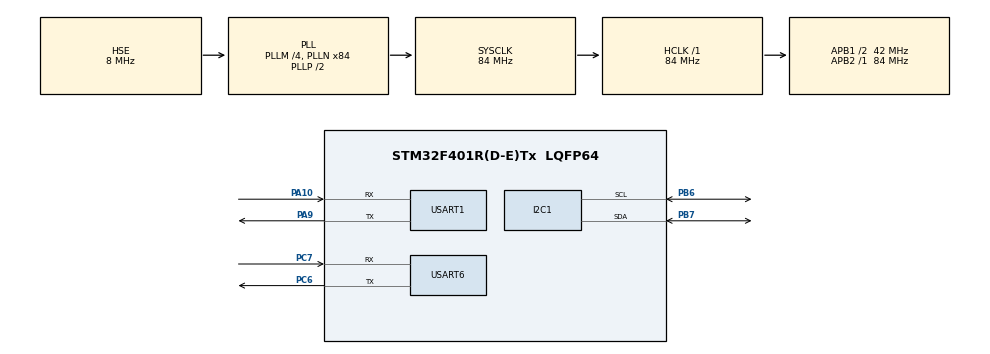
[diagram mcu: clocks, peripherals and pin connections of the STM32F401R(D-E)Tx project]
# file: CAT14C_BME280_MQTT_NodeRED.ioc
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Mcu.Family=STM32F4
Mcu.Name=STM32F401R(D-E)Tx
Mcu.Package=LQFP64
NVIC.PriorityGroup=NVIC_PRIORITYGROUP_4
NVIC.USART1_IRQn=true\:0\:0\:false\:false\:true\:true\:true\:true
PA10.Mode=Asynchronous
PA10.Signal=USART1_RX
PA13.Mode=Serial_Wire
PA13.Signal=SYS_JTMS-SWDIO
PA14.Mode=Serial_Wire
PA14.Signal=SYS_JTCK-SWCLK
PA9.Mode=Asynchronous
PA9.Signal=USART1_TX
PB6.Mode=I2C
PB6.Signal=I2C1_SCL
PB7.Mode=I2C
PB7.Signal=I2C1_SDA
PC6.Mode=Asynchronous
PC6.Signal=USART6_TX
PC7.Mode=Asynchronous
PC7.Signal=USART6_RX
PH0\ -\ OSC_IN.Mode=HSE-External-Clock-Source
PH0\ -\ OSC_IN.Signal=RCC_OSC_IN
PH1\ -\ OSC_OUT.Mode=HSE-External-Clock-Source
PH1\ -\ OSC_OUT.Signal=RCC_OSC_OUT
ProjectManager.HeapSize=0x200
ProjectManager.StackSize=0x400
ProjectManager.TargetToolchain=STM32CubeIDE
RCC.48MHZClocksFreq_Value=42000000
RCC.AHBFreq_Value=84000000
RCC.APB1CLKDivider=RCC_HCLK_DIV2
RCC.APB1Freq_Value=42000000
RCC.APB1TimFreq_Value=84000000
RCC.APB2Freq_Value=84000000
RCC.APB2TimFreq_Value=84000000
RCC.CortexFreq_Value=84000000
RCC.HCLKFreq_Value=84000000
RCC.HSE_VALUE=8000000
RCC.HSI_VALUE=16000000
RCC.LSE_VALUE=32768
RCC.PLLM=4
RCC.PLLN=84
RCC.PLLSourceVirtual=RCC_PLLSOURCE_HSE
RCC.SYSCLKFreq_VALUE=84000000
RCC.SYSCLKSource=RCC_SYSCLKSOURCE_PLLCLK
RCC.VCOOutputFreq_Value=168000000
USART1.VirtualMode=VM_ASYNC
USART6.VirtualMode=VM_ASYNC
board=custom

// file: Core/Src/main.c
/* USER CODE BEGIN Header */
/**
  ******************************************************************************
  * @file           : main.c
  * @brief          : CAT 14 - BME280 over I2C published as JSON over MQTT (broker.emqx.io)
  *                    Node-RED mqtt-in subscribes to vaishali/stm32/bme280 and visualises T/H/P.
  ******************************************************************************
  * @attention
  *
  * Copyright (c) 2026 STMicroelectronics.
  * All rights reserved.
  *
  * This software is licensed under terms that can be found in the LICENSE file
  * in the root directory of this software component.
  * If no LICENSE file comes with this software, it is provided AS-IS.
  *
  ******************************************************************************
  */
/* USER CODE END Header */
#include "main.h"

/* USER CODE BEGIN Includes */
#include "ESPLib.h"
#include "bme280.h"
#include "wifi_config.h"
#include "fmt_fixed.h"
#include <stdio.h>
#include <string.h>
/* USER CODE END Includes */

/* USER CODE BEGIN PD */
#define DBG_UART          (&huart6)          /* USART6 PC6/PC7 -> PuTTY 115200 */
#define MQTT_BROKER       "broker.emqx.io"   /* public test broker            */
#define MQTT_PORT         "1883"             /* plain (unencrypted) MQTT      */
#define DATA_TOPIC        "vaishali/stm32/bme280"
#define RETRY_MS          5000U              /* wait before reconnecting      */
#define CLIENT_ID         "stm32-vaishali-bme280"
#define PUBLISH_PERIOD_MS 2000U
/* BME280 on I2C1: PB6 = SCL, PB7 = SDA, 3.3 V, address 0x76 */
/* USER CODE END PD */

I2C_HandleTypeDef hi2c1;
UART_HandleTypeDef huart1;
UART_HandleTypeDef huart6;

/* USER CODE BEGIN PV */
static struct bme280_dev      bme;
static struct bme280_settings bme_cfg;
static struct bme280_data     bme_data;
static uint8_t                bme_addr = BME280_I2C_ADDR_PRIM;   /* 0x76 */

/* compensated results - add these to Live Expressions while debugging */
float temperature = 0.0f;    /* deg C */
float pressure    = 0.0f;    /* hPa   */
float humidity    = 0.0f;    /* %RH   */
int8_t bme_status = BME280_OK;
static uint32_t published = 0;
/* USER CODE END PV */

void SystemClock_Config(void);
static void MX_GPIO_Init(void);
static void MX_I2C1_Init(void);
static void MX_USART1_UART_Init(void);
static void MX_USART6_UART_Init(void);
/* USER CODE BEGIN PFP */
int8_t user_i2c_read(uint8_t reg_addr, uint8_t *reg_data, uint32_t len, void *intf_ptr);
int8_t user_i2c_write(uint8_t reg_addr, const uint8_t *reg_data, uint32_t len, void *intf_ptr);
void   user_delay_us(uint32_t period, void *intf_ptr);
/* USER CODE END PFP */

/* USER CODE BEGIN 0 */
static void dbg(const char *s)
{
  HAL_UART_Transmit(DBG_UART, (uint8_t *)s, (uint16_t)strlen(s), 200);
}

/* Print the library's error counters whenever they change */
static void report_diagnostics(void)
{
  static uint32_t last_ovf = 0, last_drop = 0;
  uint32_t ovf = ESP8266_rxOverflows(), drop = MQTT_droppedMessages();
  if (ovf != last_ovf || drop != last_drop)
  {
    char line[80];
    snprintf(line, sizeof(line), "[diag] UART RX overflow bytes: %lu, dropped MQTT packets: %lu\r\n",
             (unsigned long)ovf, (unsigned long)drop);
    dbg(line);
    last_ovf = ovf;
    last_drop = drop;
  }
}

/* Wi-Fi + TCP + MQTT CONNECT. Every step is checked; returns 1 only when the
 * broker has answered CONNACK "accepted". Optional broker login: define
 * MQTT_USERNAME / MQTT_PASSWORD in wifi_secrets.h. */
static int mqtt_start(const char *client_id)
{
  MQTT_InitTypeDef_t cfg;

  dbg("ESP8266 init (station mode)...\r\n");
  if (ESP8266_Init(StationMode, huart1) != funcOk) { dbg("  ESP8266 not responding\r\n"); return 0; }
  dbg("Joining " WIFI_SSID "...\r\n");
  if (ESP8266_wifiConnect(WIFI_SSID, WIFI_PASSWORD) != funcOk) { dbg("  Wi-Fi join failed\r\n"); return 0; }
  dbg("TCP connect to " MQTT_BROKER ":" MQTT_PORT "...\r\n");
  if (ESP8266_portConnect("TCP", MQTT_BROKER, MQTT_PORT) != funcOk) { dbg("  TCP connect failed\r\n"); return 0; }

  memset(&cfg, 0, sizeof(cfg));
  cfg.keepAlive   = 120;                 /* seconds; PINGREQ / publishes keep it alive */
  cfg.connectFlag = CleanSession;        /* no stored session */
  cfg.clientID    = (char *)client_id;
#if defined(MQTT_USERNAME) && defined(MQTT_PASSWORD)
  cfg.username     = MQTT_USERNAME;
  cfg.password     = MQTT_PASSWORD;
  cfg.connectFlag |= UserNameFlag | PasswordFlag;
#endif
  if (MQTT_connectBroker(&cfg) != funcOk) { dbg("  broker refused / no CONNACK\r\n"); return 0; }
  dbg("MQTT connected (CONNACK accepted) as ");
  dbg(client_id);
  dbg("\r\n");
  return 1;
}

/* Connect the Bosch API to our I2C functions, check the chip and configure it */
static int8_t bme_setup(uint8_t osr, uint8_t filter, uint8_t standby)
{
  int8_t r;

  bme.intf_ptr = &bme_addr;
  bme.intf     = BME280_I2C_INTF;
  bme.read     = user_i2c_read;
  bme.write    = user_i2c_write;
  bme.delay_us = user_delay_us;

  r = bme280_init(&bme);                 /* reads chip ID 0x60, soft reset, trim data */
  if (r != BME280_OK)
    return r;

  r = bme280_get_sensor_settings(&bme_cfg, &bme);   /* start from the current settings */
  if (r != BME280_OK)
    return r;
  bme_cfg.osr_t        = osr;            /* temperature oversampling */
  bme_cfg.osr_p        = osr;            /* pressure oversampling    */
  bme_cfg.osr_h        = osr;            /* humidity oversampling    */
  bme_cfg.filter       = filter;         /* IIR filter coefficient   */
  bme_cfg.standby_time = standby;        /* time between conversions in normal mode */
  r = bme280_set_sensor_settings(BME280_SEL_ALL_SETTINGS, &bme_cfg, &bme);
  if (r != BME280_OK)
    return r;

  return bme280_set_sensor_mode(BME280_POWERMODE_NORMAL, &bme);   /* continuous */
}

/* Read compensated values; returns 1 on success */
static int bme_read(void)
{
  bme_status = bme280_get_sensor_data(BME280_ALL, &bme_data, &bme);
  if (bme_status != BME280_OK)
    return 0;
  temperature = (float)bme_data.temperature;
  pressure    = (float)(bme_data.pressure / 100.0);   /* Pa -> hPa */
  humidity    = (float)bme_data.humidity;
  return 1;
}

static void print_readings(void)
{
  char t[12], p[12], h[12], line[48];
  fmt_2dp(t, sizeof(t), temperature);
  fmt_2dp(p, sizeof(p), pressure);
  fmt_2dp(h, sizeof(h), humidity);
  snprintf(line, sizeof(line), "Temperature : %s \xC2\xB0" "C\r\n", t);  dbg(line);
  snprintf(line, sizeof(line), "Pressure    : %s hPa\r\n", p);           dbg(line);
  snprintf(line, sizeof(line), "Humidity    : %s %%RH\r\n", h);          dbg(line);
}

/* {"status":"success","temperature":28.45,"humidity":62.30,"pressure":1008.72} */
static void build_json(char *json, size_t size, int ok)
{
  char t[12], h[12], p[12];
  if (!ok)
  {
    snprintf(json, size, "{\"status\":\"error\"}");
    return;
  }
  fmt_2dp(t, sizeof(t), temperature);
  fmt_2dp(h, sizeof(h), humidity);
  fmt_2dp(p, sizeof(p), pressure);
  snprintf(json, size, "{\"status\":\"success\",\"temperature\":%s,\"humidity\":%s,\"pressure\":%s}", t, h, p);
}
/* USER CODE END 0 */

int main(void)
{

  /* MCU Configuration--------------------------------------------------------*/

  /* Reset of all peripherals, Initializes the Flash interface and the Systick. */
  HAL_Init();

  /* Configure the system clock */
  SystemClock_Config();

  /* Initialize all configured peripherals */
  MX_GPIO_Init();
  MX_I2C1_Init();
  MX_USART1_UART_Init();
  MX_USART6_UART_Init();
  /* USER CODE BEGIN 2 */
  dbg("\r\nCAT14C - BME280 -> JSON -> MQTT -> Node-RED\r\n");

  bme_status = bme_setup(BME280_OVERSAMPLING_2X, BME280_FILTER_COEFF_OFF, BME280_STANDBY_TIME_62_5_MS);
  if (bme_status != BME280_OK)
  {
    dbg("BME280 init failed\r\n");
    Error_Handler();
  }
  dbg("BME280 ready\r\n");

  while (!mqtt_start(CLIENT_ID)) HAL_Delay(RETRY_MS);
  /* USER CODE END 2 */

  /* Infinite loop */
  while (1)
  {

    /* USER CODE BEGIN 3 */
    char json[128];
    int  ok = bme_read();

    build_json(json, sizeof(json), ok);
    report_diagnostics();
    if (!MQTT_isConnected())
    {
      dbg("Connection lost - reconnecting\r\n");
      while (!mqtt_start(CLIENT_ID)) HAL_Delay(RETRY_MS);
    }
    if (MQTT_publishTopic(DATA_TOPIC, json, QoS0) == funcOk)
      published++;
    else
      dbg("PUB failed\r\n");

    dbg("\r\nPUB " DATA_TOPIC " ");
    dbg(json);
    dbg("\r\n");
    if (ok)
      print_readings();

    HAL_Delay(PUBLISH_PERIOD_MS);
  }
  /* USER CODE END 3 */
}

void SystemClock_Config(void)
{
  RCC_OscInitTypeDef RCC_OscInitStruct = {0};
  RCC_ClkInitTypeDef RCC_ClkInitStruct = {0};

  /** Configure the main internal regulator output voltage
  */
  __HAL_RCC_PWR_CLK_ENABLE();
  __HAL_PWR_VOLTAGESCALING_CONFIG(PWR_REGULATOR_VOLTAGE_SCALE2);

  /** Initializes the RCC Oscillators according to the specified parameters
  * in the RCC_OscInitTypeDef structure.
  */
  RCC_OscInitStruct.OscillatorType = RCC_OSCILLATORTYPE_HSE;
  RCC_OscInitStruct.HSEState = RCC_HSE_BYPASS;
  RCC_OscInitStruct.PLL.PLLState = RCC_PLL_ON;
  RCC_OscInitStruct.PLL.PLLSource = RCC_PLLSOURCE_HSE;
  RCC_OscInitStruct.PLL.PLLM = 4;
  RCC_OscInitStruct.PLL.PLLN = 84;
  RCC_OscInitStruct.PLL.PLLP = RCC_PLLP_DIV2;
  RCC_OscInitStruct.PLL.PLLQ = 4;
  if (HAL_RCC_OscConfig(&RCC_OscInitStruct) != HAL_OK)
  {
    Error_Handler();
  }

  /** Initializes the CPU, AHB and APB buses clocks
  */
  RCC_ClkInitStruct.ClockType = RCC_CLOCKTYPE_HCLK|RCC_CLOCKTYPE_SYSCLK
                              |RCC_CLOCKTYPE_PCLK1|RCC_CLOCKTYPE_PCLK2;
  RCC_ClkInitStruct.SYSCLKSource = RCC_SYSCLKSOURCE_PLLCLK;
  RCC_ClkInitStruct.AHBCLKDivider = RCC_SYSCLK_DIV1;
  RCC_ClkInitStruct.APB1CLKDivider = RCC_HCLK_DIV2;
  RCC_ClkInitStruct.APB2CLKDivider = RCC_HCLK_DIV1;

  if (HAL_RCC_ClockConfig(&RCC_ClkInitStruct, FLASH_LATENCY_2) != HAL_OK)
  {
    Error_Handler();
  }
}

static void MX_I2C1_Init(void)
{

  hi2c1.Instance = I2C1;
  hi2c1.Init.ClockSpeed = 100000;
  hi2c1.Init.DutyCycle = I2C_DUTYCYCLE_2;
  hi2c1.Init.OwnAddress1 = 0;
  hi2c1.Init.AddressingMode = I2C_ADDRESSINGMODE_7BIT;
  hi2c1.Init.DualAddressMode = I2C_DUALADDRESS_DISABLE;
  hi2c1.Init.OwnAddress2 = 0;
  hi2c1.Init.GeneralCallMode = I2C_GENERALCALL_DISABLE;
  hi2c1.Init.NoStretchMode = I2C_NOSTRETCH_DISABLE;
  if (HAL_I2C_Init(&hi2c1) != HAL_OK)
  {
    Error_Handler();
  }

}

static void MX_USART1_UART_Init(void)
{

  huart1.Instance = USART1;
  huart1.Init.BaudRate = 115200;
  huart1.Init.WordLength = UART_WORDLENGTH_8B;
  huart1.Init.StopBits = UART_STOPBITS_1;
  huart1.Init.Parity = UART_PARITY_NONE;
  huart1.Init.Mode = UART_MODE_TX_RX;
  huart1.Init.HwFlowCtl = UART_HWCONTROL_NONE;
  huart1.Init.OverSampling = UART_OVERSAMPLING_16;
  if (HAL_UART_Init(&huart1) != HAL_OK)
  {
    Error_Handler();
  }

}

static void MX_USART6_UART_Init(void)
{

  huart6.Instance = USART6;
  huart6.Init.BaudRate = 115200;
  huart6.Init.WordLength = UART_WORDLENGTH_8B;
  huart6.Init.StopBits = UART_STOPBITS_1;
  huart6.Init.Parity = UART_PARITY_NONE;
  huart6.Init.Mode = UART_MODE_TX_RX;
  huart6.Init.HwFlowCtl = UART_HWCONTROL_NONE;
  huart6.Init.OverSampling = UART_OVERSAMPLING_16;
  if (HAL_UART_Init(&huart6) != HAL_OK)
  {
    Error_Handler();
  }

}

static void MX_GPIO_Init(void)
{

  /* GPIO Ports Clock Enable */
  __HAL_RCC_GPIOH_CLK_ENABLE();
  __HAL_RCC_GPIOC_CLK_ENABLE();
  __HAL_RCC_GPIOA_CLK_ENABLE();
  __HAL_RCC_GPIOB_CLK_ENABLE();

}

/* USER CODE BEGIN 4 */
/* ---------------------------------------------------------------------------
 * Hardware abstraction for the Bosch BME280 Sensor API.
 * The Bosch driver never touches the hardware itself: it calls these three
 * functions through the bme280_dev structure.
 * ------------------------------------------------------------------------- */

/* read_register(): burst-read 'len' bytes starting at 'reg_addr' */
int8_t user_i2c_read(uint8_t reg_addr, uint8_t *reg_data, uint32_t len, void *intf_ptr)
{
  uint8_t addr7 = *(uint8_t *)intf_ptr;
  /* HAL wants the 8-bit (shifted) address */
  if (HAL_I2C_Mem_Read(&hi2c1, (uint16_t)(addr7 << 1), reg_addr, I2C_MEMADD_SIZE_8BIT,
                       reg_data, (uint16_t)len, 100) != HAL_OK)
    return BME280_E_COMM_FAIL;
  return BME280_OK;
}

/* write_register(): write 'len' bytes starting at 'reg_addr' */
int8_t user_i2c_write(uint8_t reg_addr, const uint8_t *reg_data, uint32_t len, void *intf_ptr)
{
  uint8_t addr7 = *(uint8_t *)intf_ptr;
  if (HAL_I2C_Mem_Write(&hi2c1, (uint16_t)(addr7 << 1), reg_addr, I2C_MEMADD_SIZE_8BIT,
                        (uint8_t *)reg_data, (uint16_t)len, 100) != HAL_OK)
    return BME280_E_COMM_FAIL;
  return BME280_OK;
}

/* delay_function(): the API asks for microseconds.
 * >= 1 ms : HAL_Delay (SysTick, waits at least the requested time)
 *  < 1 ms : busy-wait on the Cortex-M4 DWT cycle counter. Cycles per us are
 *           taken from SystemCoreClock (84 at the 84 MHz used here). */
void user_delay_us(uint32_t period, void *intf_ptr)
{
  (void)intf_ptr;
  if (period >= 1000U)
  {
    HAL_Delay((period + 999U) / 1000U);
    return;
  }
  if ((DWT->CTRL & DWT_CTRL_CYCCNTENA_Msk) == 0U)        /* enable the cycle counter once */
  {
    CoreDebug->DEMCR |= CoreDebug_DEMCR_TRCENA_Msk;
    DWT->CYCCNT = 0;
    DWT->CTRL |= DWT_CTRL_CYCCNTENA_Msk;
  }
  uint32_t start = DWT->CYCCNT;
  uint32_t ticks = period * (SystemCoreClock / 1000000U);
  while ((DWT->CYCCNT - start) < ticks)                  /* unsigned maths: wrap-safe */
  {
  }
}
/* USER CODE END 4 */

void Error_Handler(void)
{
  __disable_irq();
  while (1)
  {
  }
}
